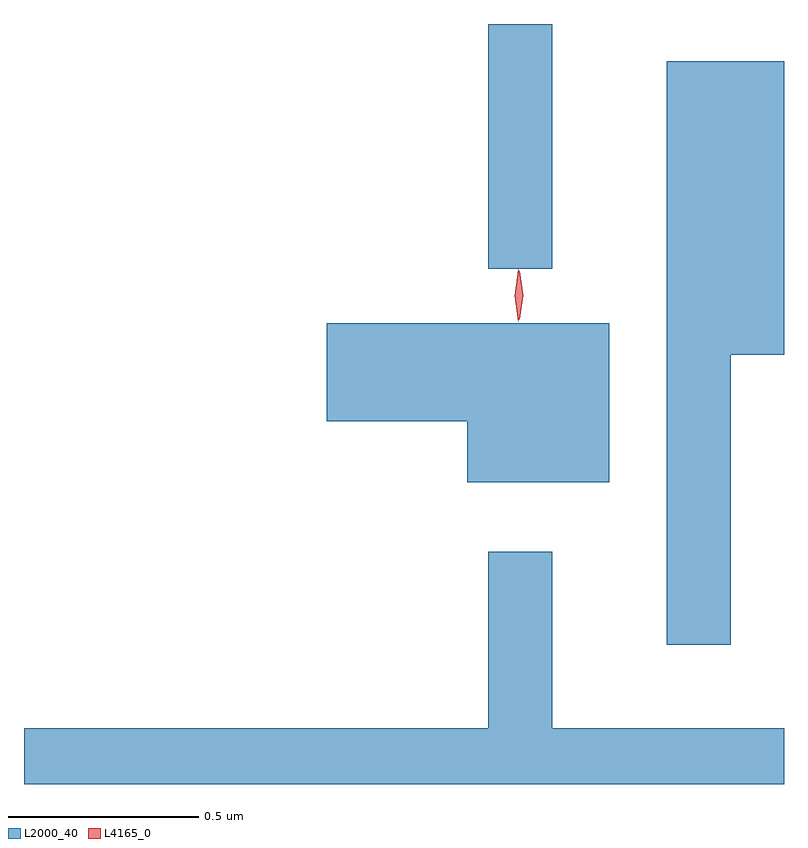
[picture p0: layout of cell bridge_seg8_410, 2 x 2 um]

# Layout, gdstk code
import gdstk
lib = gdstk.Library(unit=1e-6, precision=1e-09)
def R(c, l, rs):  # rectangles x0, y0, x1, y1
    for r in rs: c.add(gdstk.rectangle(r[:2], r[2:], *l))
def P(c, l, *ps):  # polygons
    for p in ps: c.add(gdstk.Polygon(p, *l))
L2000_40 = (2000, 40)
L4165_0 = (4165, 0)

bridge_seg8_410 = lib.new_cell('bridge_seg8_410')
R(bridge_seg8_410, L2000_40, [(711.891,1873.413,712.059,1874.057)])
P(bridge_seg8_410, L2000_40, [(712.529,1873.186),(712.669,1873.186),(712.669,1873.959),(712.361,1873.959),(712.361,1872.423),(712.529,1872.423)],
  [(712.209,1873.269),(711.466,1873.269),(711.466,1873.011),(711.836,1873.011),(711.836,1872.851),(712.209,1872.851)],
  [(712.669,1872.204),(712.059,1872.204),(712.059,1872.668),(711.891,1872.668),(711.891,1872.204),(710.669,1872.204),(710.669,1872.057),(712.669,1872.057)])
P(bridge_seg8_410, L4165_0, [(711.969,1873.274),(711.969,1873.274),(711.96,1873.342),(711.97,1873.41),(711.971,1873.41),(711.971,1873.41),(711.98,1873.342),(711.97,1873.274)],
  [(711.972,1873.28),(711.963,1873.343),(711.972,1873.406),(711.973,1873.407),(711.974,1873.406),(711.983,1873.343),(711.974,1873.28),(711.973,1873.28)])

lib.write_gds('bridge_seg8_410.gds')
